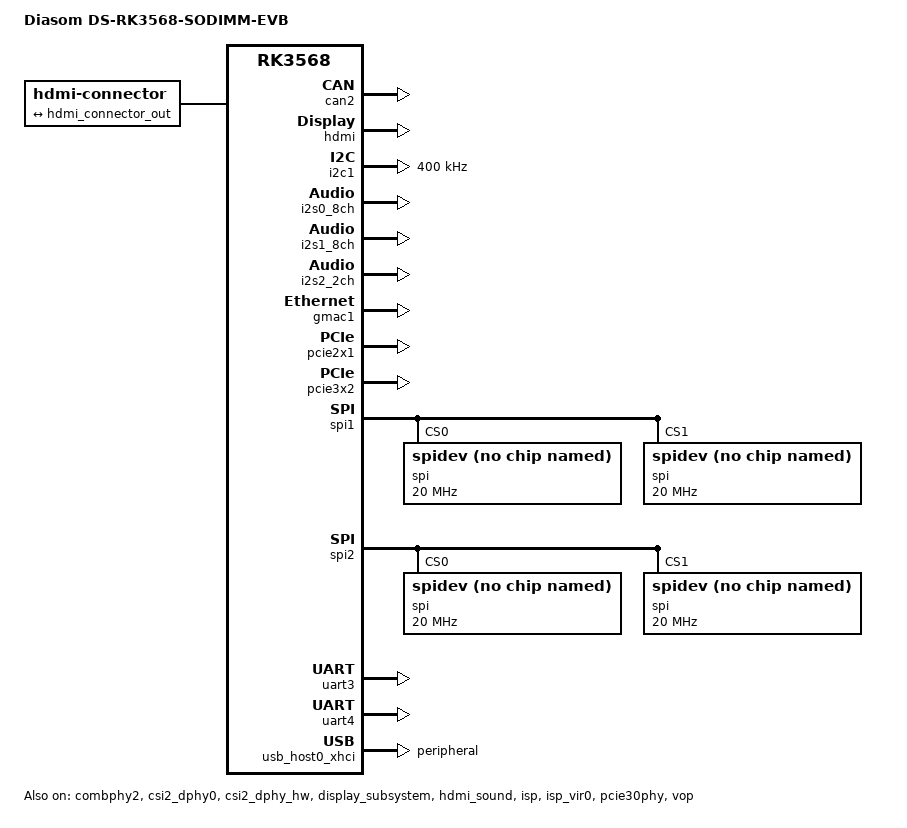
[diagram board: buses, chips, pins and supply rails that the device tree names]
/* SPDX-License-Identifier: GPL-2.0+ */
/* SPDX-FileCopyrightText: Alexander Shiyan <shc_work@mail.ru> */

/dts-v1/;

#include <dt-bindings/soc/rockchip,vop2.h>

#include "rk3568-diasom-som-sodimm.dtsi"

/ {
	model = "Diasom DS-RK3568-SODIMM-EVB";
	compatible = "diasom,ds-rk3568-som-sodimm-evb",
		     "diasom,ds-rk3568-som-sodimm",
		     "diasom,ds-rk3568-som",
		     "rockchip,rk3568";

	aliases {
		camera0 = &imx335;
		can0 = &can2;
	};

	hdmi-connector {
		compatible = "hdmi-connector";
		label = "HDMI";
		type = "a";

		port {
			hdmi_connector_in: endpoint {
				remote-endpoint = <&hdmi_connector_out>;
			};
		};
	};
};

&can2 {
	status = "okay";
};

&combphy2 {
	status = "okay";
};

&csi2_dphy0 {
	status = "okay";

	ports {
		#address-cells = <1>;
		#size-cells = <0>;

		port@0 {
			reg = <0>;
			#address-cells = <1>;
			#size-cells = <0>;

			imx335_in: endpoint@0 {
				reg = <0>;
				data-lanes = <1 2>;
				remote-endpoint = <&imx335_out>;
			};
		};

		port@1 {
			reg = <1>;

			csi_out: endpoint {
				remote-endpoint = <&isp_in>;
				data-lanes = <1 2 3 4>;
			};
		};
	};
};

&csi2_dphy_hw {
	status = "okay";
};

&display_subsystem {
	status = "okay";
};

&hdmi {
	status = "okay";
};

&hdmi_in {
	hdmi_in_vp0: endpoint {
		remote-endpoint = <&vp0_out_hdmi>;
	};
};

&hdmi_out {
	hdmi_connector_out: endpoint {
		remote-endpoint = <&hdmi_connector_in>;
	};
};

&hdmi_sound {
	status = "okay";
};

&i2c1 {
	clock-frequency = <400000>;

	imx335: camera-0@1a {
		compatible = "sony,imx335";
		reg = <0x1a>;
		clocks = <&xin24m>;
		power-domains = <&power RK3568_PD_VI>;
		avdd-supply = <&vcc_cam0>;
		dvdd-supply = <&vcc_cam0>;
		ovdd-supply = <&vcc_cam0>;
		status = "disabled";

		port {
			imx335_out: endpoint {
				data-lanes = <1 2>;
				remote-endpoint = <&imx335_in>;
				link-frequencies = /bits/ 64 <594000000>;
			};
		};
	};
};

&i2s0_8ch {
	/* HDMI Sound */
	status = "okay";
};

&i2s1_8ch {
	status = "okay";
};

&i2s2_2ch {
	status = "okay";
};

&isp {
	status = "okay";
};

&isp_mmu {
	status = "okay";
};

&isp_vir0 {
	status = "okay";

	port {
		#address-cells = <1>;
		#size-cells = <0>;

		isp_in: endpoint@0 {
			reg = <0>;
			remote-endpoint = <&csi_out>;
		};
	};
};

&gmac1 {
	status = "okay";
};

&pcie2x1 {
	status = "okay";
};

&pcie30phy {
	status = "okay";
};

&pcie3x2 {
	status = "okay";
};

&spi1 {
	status = "okay";

	spi@0 {
		compatible = "rohm,dh2228fv";
		reg = <0>;
		spi-max-frequency = <20000000>;
	};

	spi@1 {
		compatible = "rohm,dh2228fv";
		reg = <1>;
		spi-max-frequency = <20000000>;
	};
};

&spi2 {
	status = "okay";

	spi@0 {
		compatible = "rohm,dh2228fv";
		reg = <0>;
		spi-max-frequency = <20000000>;
	};

	spi@1 {
		compatible = "rohm,dh2228fv";
		reg = <1>;
		spi-max-frequency = <20000000>;
	};
};

&uart3 {
	status = "okay";
};

&uart4 {
	status = "okay";
};

/* Temporary solution to use with JETSON-IO-BASE-B */
&usb_host0_ehci {
	status = "disabled";
};

/* Temporary solution to use with JETSON-IO-BASE-B */
&usb_host0_xhci {
	dr_mode = "peripheral";
};

&vop {
	status = "okay";
};

&vop_mmu {
	status = "okay";
};

&vp0 {
	vp0_out_hdmi: endpoint@ROCKCHIP_VOP2_EP_HDMI0 {
		reg = <ROCKCHIP_VOP2_EP_HDMI0>;
		remote-endpoint = <&hdmi_in_vp0>;
	};
};
